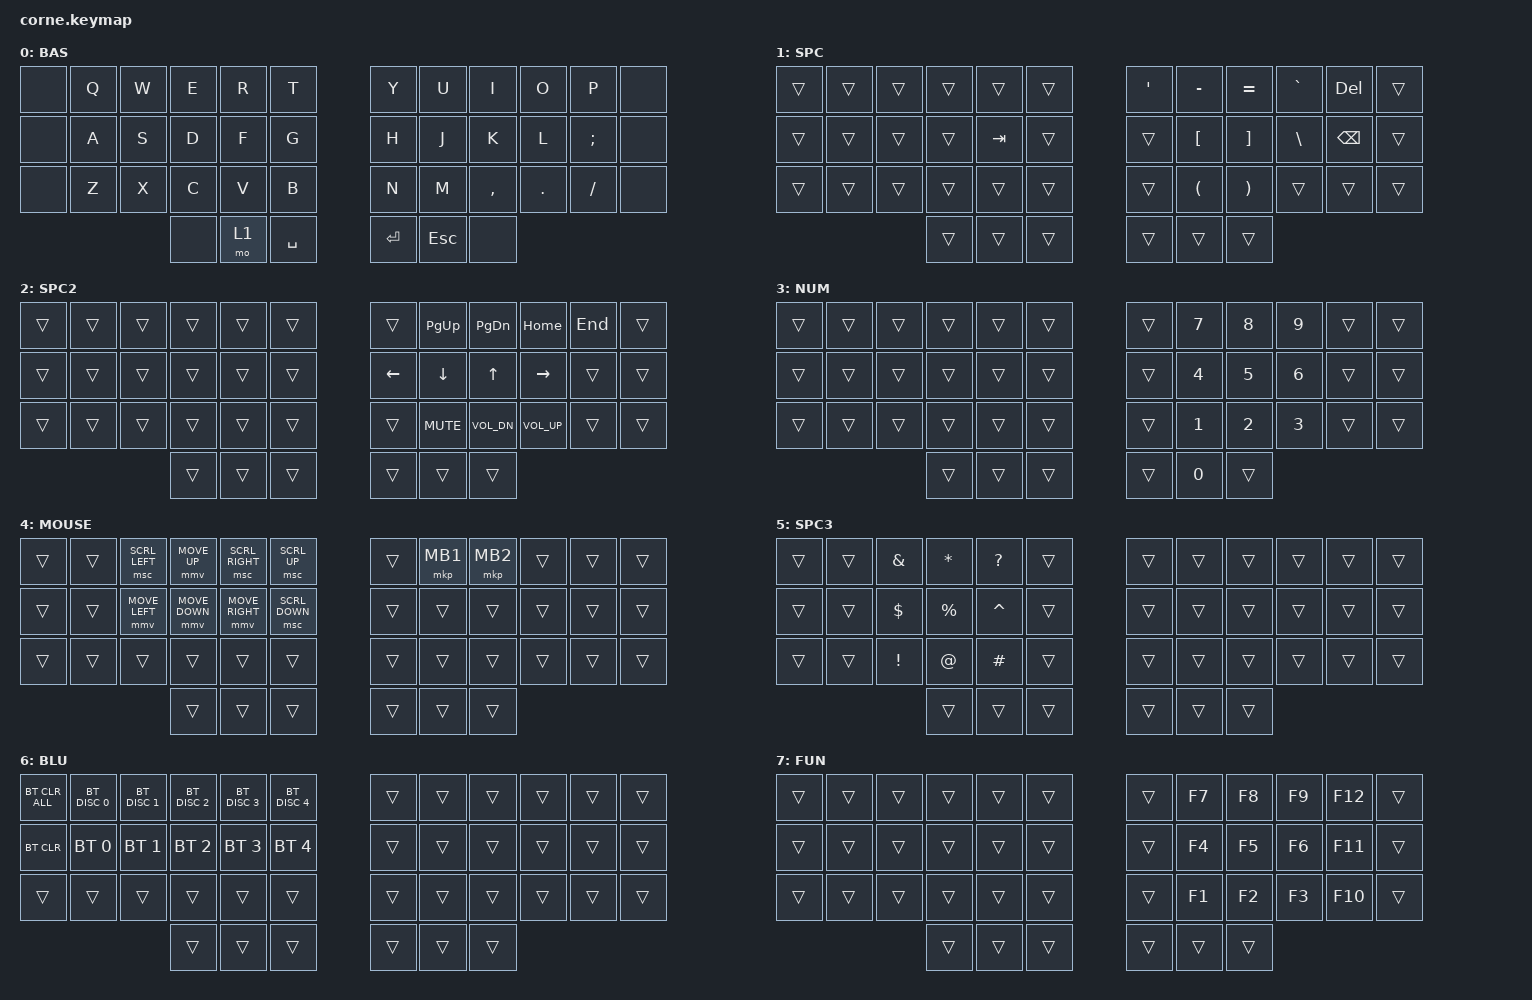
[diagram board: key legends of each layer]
/*
 * Copyright (c) 2020 The ZMK Contributors
 *
 * SPDX-License-Identifier: MIT
 */

#include <behaviors.dtsi>
#include <dt-bindings/zmk/keys.h>
#include <dt-bindings/zmk/bt.h>
#include <dt-bindings/zmk/outputs.h>
#include <dt-bindings/zmk/ext_power.h>
#include <dt-bindings/zmk/reset.h>
#include <dt-bindings/zmk/pointing.h> // mouse pointing

&mmv {
    x-input-code = <INPUT_REL_X>;
    y-input-code = <INPUT_REL_Y>;
	delay-ms = <0>;
    time-to-max-speed-ms = <150>;
    acceleration-exponent = <1>;
    trigger-period-ms = <8>;  // 추가: 125Hz (1000/8 = 125)

};

&msc {
    x-input-code = <INPUT_REL_HWHEEL>;
    y-input-code = <INPUT_REL_WHEEL>;
	delay-ms = <0>;
    time-to-max-speed-ms = <120>;
    acceleration-exponent = <1>;
    trigger-period-ms = <8>;  // 추가: 125Hz (1000/8 = 125)
};

/ {
    keymap {
        compatible = "zmk,keymap";

        default_layer {
            display-name = "BAS";
            // -----------------------------------------------------------------------------------------
            // |none|  Q  |  W  |  E  |  R  |  T  |   |  Y  |  U   |  I  |  O  |  P  |none|
            // |none|  A  |  S  |  D  |  F  |  G  |   |  H  |  J   |  K  |  L  |  ;  |none|
            // |none|  Z  |  X  |  C  |  V  |  B  |   |  N  |  M   |  ,  |  .  |  /  |none|
            //                    | none | M1  | SPC |   | ENT | CTRL | none |

            bindings = <
&none    &kp Q  &kp W  &kp E     &kp R  &kp T        &kp Y    &kp U  	    &kp I      &kp O    &kp P     &none
&none	 &kp A  &kp S  &kp D     &kp F  &kp G        &kp H    &kp J  	    &kp K      &kp L    &kp SEMI  &none
&none	 &kp Z  &kp X  &kp C     &kp V  &kp B        &kp N    &kp M  	    &kp COMMA  &kp DOT  &kp FSLH  &none
                         &none  &mo 1  &kp SPACE    &kp RET  &kp ESC   &none
            >;
        };

	/* Layer #1 */
        special_1 {
            display-name = "SPC";
            // -----------------------------------------------------------------------------------------
            // |      |     |     |     |     |     | ** |  '  | -   |  =  |  `  | DEL |      |
            // |      |     |     |     |     |     | ** |     | [   |  ]  |  \  | BKSP|      |
            // |      |     |     |     |     |     | ** |     | (   |  )  |     |     |      |
            //                    |     |     |     | ** |     |     |     |

            bindings = <
&trans	&trans	&trans	&trans	&trans	&trans	&kp SQT	&kp MINUS	&kp EQUAL	&kp GRAVE	&kp DEL		&trans	
&trans	&trans	&trans	&trans	&kp TAB	&trans	&trans	&kp LBKT	&kp RBKT	&kp BSLH	&kp BSPC	&trans	
&trans	&trans	&trans	&trans	&trans	&trans	&trans	&kp LPAR	&kp RPAR	&trans		&trans		&trans	
			&trans	&trans	&trans	&trans	&trans		&trans	
            >;
        };

	/* Layer #2 */
        special_2 {
            display-name = "SPC2";
            // -----------------------------------------------------------------------------------------
            // |      |     |     |     |     |     | ** |     | PG_UP | PG_DN |  HOME  | END |      |
            // |      |     |     |     |     |     | ** | Left| Down  |  Up   |  Rght  |     |      |
            // |      |     |     |     |     |     | ** |     | Mute  |  Vol- |  Vol+  |     |      |
            //                    |     |     |     | ** |     |       |       |

            bindings = <
&trans	&trans	&trans	&trans	&trans	&trans	&trans		&kp PG_UP	&kp PG_DN	&kp HOME	&kp END	&trans	
&trans	&trans	&trans	&trans	&trans	&trans	&kp LEFT	&kp DOWN	&kp UP		&kp RIGHT	&trans	&trans	
&trans	&trans	&trans	&trans	&trans	&trans	&trans		&kp C_MUTE	&kp C_VOL_DN	&kp C_VOL_UP	&trans	&trans	
			&trans	&trans	&trans	&trans		&trans		&trans	
            >;
        };

	/* Layer #3 */
        number {
            display-name = "NUM";
            // -----------------------------------------------------------------------------------------
            // |      |     |     |     |     |     | ** |     | 7     | 8     |  9     |    |      |
            // |      |     |     |     |     |     | ** |     | 4     | 5     |  6     |    |      |
            // |      |     |     |     |     |     | ** |     | 1     | 2     |  3     |    |      |
            //                    |     |     |     | ** |     |       | 0     |

            bindings = <
&trans	&trans	&trans	&trans	&trans	&trans	&trans	&kp N7	&kp N8  &kp N9	&trans	&trans	
&trans	&trans	&trans	&trans	&trans	&trans	&trans	&kp N4	&kp N5  &kp N6	&trans	&trans	
&trans	&trans	&trans	&trans	&trans	&trans	&trans	&kp N1	&kp N2	&kp N3	&trans	&trans	
			&trans	&trans	&trans	&trans	&kp N0	&trans
            >;
        };

	/* Layer #4 */
        mouse {
            display-name = "MOUSE";
            // -----------------------------------------------------------------------------------------
            // |      |     | WHL_lft | ms_up | WHL_rght | WHL_up | ** |     | MB1  | MB2  |       |    |      |
            // |      |     | ms_left | ms_dn | ms_rght  | WHL_dn | ** |     |      |      |       |    |      |
            // |      |     |         |       |          |        | ** |     |      |      |       |    |      |
            //                        |       |          |        | ** |     |      |      |

            bindings = <
&trans	&trans	&msc SCRL_LEFT	&mmv MOVE_UP	&msc SCRL_RIGHT	&msc SCRL_UP	&trans	&mkp MB1	&mkp MB2	&trans	&trans	&trans	
&trans	&trans	&mmv MOVE_LEFT	&mmv MOVE_DOWN	&mmv MOVE_RIGHT	&msc SCRL_DOWN	&trans	&trans		&trans  	&trans	&trans	&trans	
&trans	&trans	&trans		&trans		&trans		&trans		&trans	&trans		&trans		&trans	&trans	&trans	
				&trans		&trans		&trans		&trans	&trans		&trans	
            >;
        };

	/* Layer #5 */
        special_3 {
            display-name = "SPC3";
            // -----------------------------------------------------------------------------------------
            // |      |     |  &  |  *  |  ?  |     | ** |     |     |     |     |     |      |
            // |      |     |  $  |  %  |  ^  |     | ** |     |     |     |     |     |      |
            // |      |     |  !  |  @  |  #  |     | ** |     |     |     |     |     |      |
            //                    |     |     |     | ** |     |     |     |

            bindings = <
&trans	&trans	&kp AMPS	&kp ASTRK	&kp QMARK	&trans	&trans	&trans	&trans	&trans	&trans	&trans	
&trans	&trans	&kp DLLR	&kp PRCNT	&kp CARET	&trans	&trans	&trans	&trans	&trans	&trans	&trans	
&trans	&trans	&kp EXCL	&kp AT		&kp HASH 	&trans	&trans	&trans	&trans	&trans	&trans	&trans	
				&trans		&trans		&trans	&trans	&trans	&trans	
            >;
        };

	/* Layer #6 */
        bluetooth {
            display-name = "BLU";
            // -----------------------------------------------------------------------------------------
            // | BCLRA|BDC1 |BDC2 |BDC3 |BDC4 |BDC5 | **  |     |     |     |     |     |      |
            // | BTCLR| BT1 | BT2 | BT3 | BT4 | BT5 | **  |     |     |     |     |     |      |
            // |      |     |     |     |     |     | **  |     |     |     |     |     |      |
            //                    |     |     |     | **  |     |     |     |

            bindings = <
&bt BT_CLR_ALL	&bt BT_DISC 0  &bt BT_DISC 1  &bt BT_DISC 2  &bt BT_DISC 3  &bt BT_DISC 4	&trans	&trans	&trans	&trans	&trans	&trans	
&bt BT_CLR	&bt BT_SEL 0  &bt BT_SEL 1  &bt BT_SEL 2  &bt BT_SEL 3  &bt BT_SEL 4 &trans	&trans	&trans	&trans	&trans	&trans	
&trans	&trans	&trans	&trans	&trans	&trans	&trans	&trans	&trans	&trans	&trans	&trans	
			&trans	&trans	&trans	&trans	&trans	&trans	
            >;
        };

	/* Layer #7 */
        functions {
            display-name = "FUN";
            // -----------------------------------------------------------------------------------------
            // |      |     |     |     |     |     | **  |     | F7     | F8     |  F9   |F12 |     |
            // |      |     |     |     |     |     | **  |     | F4     | F5     |  F6   |F11 |     |
            // |      |     |     |     |     |     | **  |     | F1     | F2     |  F3   |F10 |     |
            //                    |     |     |     | **  |     |        |        |

            bindings = <
&trans	&trans	&trans	&trans	&trans	&trans	&trans	&kp F7	&kp F8	&kp F9	&kp F12	&trans	
&trans	&trans	&trans	&trans	&trans	&trans	&trans	&kp F4	&kp F5	&kp F6	&kp F11	&trans	
&trans	&trans	&trans	&trans	&trans	&trans	&trans	&kp F1	&kp F2	&kp F3	&kp F10	&trans	
			&trans	&trans	&trans	&trans	&trans	&trans
            >;
        };

        extra_1 {
            status = "reserved";
        };

        extra_2 {
            status = "reserved";
        };

        extra_3 {
            status = "reserved";
        };
    };

    /* combo definitions */
    /*      0   1   2   3   4   5 |  6   7   8   9  10  11 */
    /*     12  13  14  15  16  17 | 18  19  20  21  22  23 */
    /*     24  25  26  27  28  29 | 30  31  32  33  34  35 */
    /*                 36  37  38 | 39  40  41 */
    combos {
        compatible = "zmk,combos";
        hr_left_gui {
            timeout-ms = <50>;
            key-positions = <13 16>;
            bindings = <&kp LGUI>;
	    slow-release;
        };
        hr_left_shift {
            timeout-ms = <50>;
            key-positions = <14 15>;
            bindings = <&kp LSHFT>;
	    slow-release;
        };
        hr_left_alt {
            timeout-ms = <50>;
            key-positions = <14 16>;
            bindings = <&kp LALT>;
	    slow-release;
        };
        hr_left_ctrl {
            timeout-ms = <50>;
            key-positions = <15 16>;
            bindings = <&kp LCTRL>;
	    slow-release;
        };
        hr_right_gui {
            timeout-ms = <50>;
            key-positions = <19 22>;
            bindings = <&kp LGUI>;
	    slow-release;
        };
        hr_right_shift {
            timeout-ms = <50>;
            key-positions = <20 21>;
            bindings = <&kp LSHFT>;
	    slow-release;
        };
        hr_right_alt {
            timeout-ms = <50>;
            key-positions = <19 21>;
            bindings = <&kp LALT>;
	    slow-release;
        };
        hr_right_ctrl {
            timeout-ms = <50>;
            key-positions = <19 20>;
            bindings = <&kp LCTRL>;
	    slow-release;
        };

        mod_bluetooth {
            timeout-ms = <50>;
            key-positions = <10 19>;
            bindings = <&mo 6>;
	    slow-release;
        };
        mod_mouse {
            timeout-ms = <50>;
            key-positions = <9 19>;
            bindings = <&mo 4>;
	    slow-release;
        };
        mod_special {
            timeout-ms = <50>;
            key-positions = <8 19>;
            bindings = <&mo 5>;
	    slow-release;
        };
        mod_functions {
            timeout-ms = <50>;
            key-positions = <1 16>;
            bindings = <&mo 7>;
	    slow-release;
        };
        mod_number {
            timeout-ms = <50>;
            key-positions = <2 16>;
            bindings = <&mo 3>;
	    slow-release;
        };
        mod_spc {
            timeout-ms = <50>;
            key-positions = <3 16>;
            bindings = <&mo 2>;
	    slow-release;
        };
    };
};
